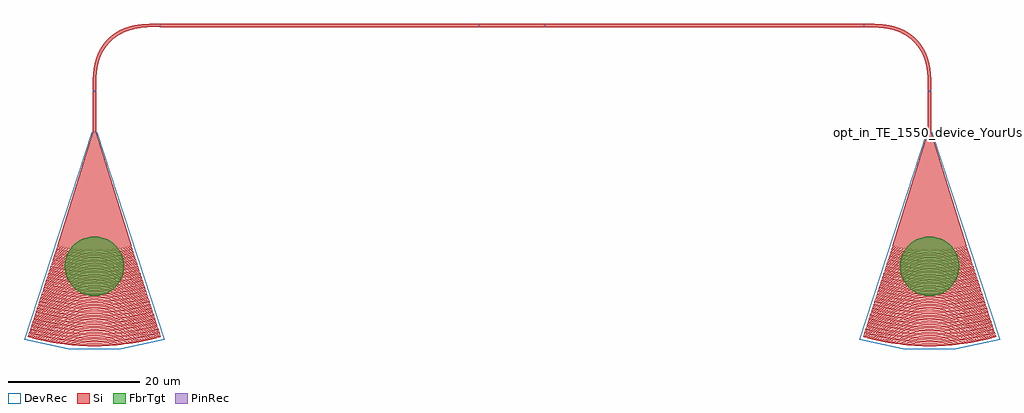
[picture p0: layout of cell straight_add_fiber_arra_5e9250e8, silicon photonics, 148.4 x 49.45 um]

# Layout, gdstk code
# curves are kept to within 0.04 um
from math import pi, radians
import gdstk
lib = gdstk.Library(unit=1e-6, precision=1e-09)
def R(c, l, rs):  # rectangles x0, y0, x1, y1
    for r in rs: c.add(gdstk.rectangle(r[:2], r[2:], *l))
def P(c, l, *ps):  # polygons
    for p in ps: c.add(gdstk.Polygon(p, *l))
Si = (1, 0)
PinRec = (1, 10)
DevRec = (68, 0)
FbrTgt = (81, 0)

bend_euler_c9703dce = lib.new_cell('bend_euler_c9703dce')
P(bend_euler_c9703dce, Si, [(0.047,-0.25),(1.686,-0.23),(3.007,-0.136),(4.229,0.069),(5.261,0.372),(3.041,0.372),(1.761,0.273),(0,0.25),(0,-0.25)],
  [(5.287,0.382),(6.13,0.754),(6.841,1.176),(7.536,1.707),(8.117,2.268),(7.412,2.268),(6.333,1.444),(5.156,0.866),(4.206,0.577),(3.041,0.372)],
  [(8.13,2.282),(8.797,3.119),(9.29,3.957),(9.683,4.894),(9.962,5.911),(9.45,5.911),(9.134,4.844),(8.717,3.941),(8.116,3.035),(7.412,2.268)],
  [(9.972,5.958),(10.196,7.654),(10.25,10),(9.75,10),(9.694,7.643),(9.45,5.911),(9.962,5.911)])
P(bend_euler_c9703dce, DevRec, [(0.047,-0.25),(1.686,-0.23),(3.007,-0.136),(4.229,0.069),(5.261,0.372),(3.041,0.372),(1.761,0.273),(0,0.25),(0,-0.25)],
  [(5.287,0.382),(6.13,0.754),(6.841,1.176),(7.536,1.707),(8.117,2.268),(7.412,2.268),(6.333,1.444),(5.156,0.866),(4.206,0.577),(3.041,0.372)],
  [(8.13,2.282),(8.797,3.119),(9.29,3.957),(9.683,4.894),(9.962,5.911),(9.45,5.911),(9.134,4.844),(8.717,3.941),(8.116,3.035),(7.412,2.268)],
  [(9.972,5.958),(10.196,7.654),(10.25,10),(9.75,10),(9.694,7.643),(9.45,5.911),(9.962,5.911)])
bend_euler_c9703dce.add(gdstk.FlexPath([(0.05,0),(-0.05,0)], 0.5, ends="flush", simple_path=True, layer=1, datatype=10))  # PinRec
bend_euler_c9703dce.add(gdstk.FlexPath([(10,9.95),(10,10.05)], 0.5, ends="flush", simple_path=True, layer=1, datatype=10))  # PinRec
bend_euler_c9703dce.add(gdstk.Label('o1', (0,0), layer=1, texttype=10))
bend_euler_c9703dce.add(gdstk.Label('o2', (10,10), layer=1, texttype=10))

straight_7db3aafb = lib.new_cell('straight_7db3aafb')
R(straight_7db3aafb, Si, [(0,-0.25,6.2,0.25)])
R(straight_7db3aafb, DevRec, [(0,-0.25,6.2,0.25)])
straight_7db3aafb.add(gdstk.FlexPath([(0.05,0),(-0.05,0)], 0.5, ends="flush", simple_path=True, layer=1, datatype=10))  # PinRec
straight_7db3aafb.add(gdstk.FlexPath([(6.15,0),(6.25,0)], 0.5, ends="flush", simple_path=True, layer=1, datatype=10))  # PinRec
straight_7db3aafb.add(gdstk.Label('o1', (0,0), layer=1, texttype=10))
straight_7db3aafb.add(gdstk.Label('o2', (6.2,0), layer=1, texttype=10))

straight_30d118db = lib.new_cell('straight_30d118db')
R(straight_30d118db, Si, [(0,-0.25,48.5,0.25)])
R(straight_30d118db, DevRec, [(0,-0.25,48.5,0.25)])
straight_30d118db.add(gdstk.FlexPath([(0.05,0),(-0.05,0)], 0.5, ends="flush", simple_path=True, layer=1, datatype=10))  # PinRec
straight_30d118db.add(gdstk.FlexPath([(48.45,0),(48.55,0)], 0.5, ends="flush", simple_path=True, layer=1, datatype=10))  # PinRec
straight_30d118db.add(gdstk.Label('o1', (0,0), layer=1, texttype=10))
straight_30d118db.add(gdstk.Label('o2', (48.5,0), layer=1, texttype=10))

ebeam_gc_te1550 = lib.new_cell('ebeam_gc_te1550')
R(ebeam_gc_te1550, Si, [(-0.001,-0.001,0.001,0.001)])
P(ebeam_gc_te1550, Si, [(17.584,-5.592),(17.743,-4.914),(17.902,-4.12),(18.016,-3.437),(18.109,-2.752),(18.176,-2.122),(18.233,-1.377),(18.264,-0.689),(18.274,0.114),(18.196,0.114),(18.189,-0.572),(18.165,-1.2),(18.109,-1.999),(18.032,-2.74),(17.922,-3.536),(17.784,-4.329),(17.643,-5.006),(17.481,-5.68),(17.556,-5.704)],
  [(18.274,0.115),(18.256,0.918),(18.222,1.549),(18.165,2.237),(18.095,2.866),(18.016,3.437),(17.881,4.233),(17.743,4.914),(17.556,5.704),(17.481,5.68),(17.643,5.006),(17.784,4.329),(17.922,3.536),(18.018,2.854),(18.104,2.056),(18.148,1.486),(18.186,0.686),(18.196,0.114)],
  [(17.921,-5.761),(18.207,-4.492),(18.452,-2.982),(18.601,-1.405),(18.643,0.116),(18.383,0.116),(18.338,-1.443),(18.188,-2.998),(17.932,-4.544),(17.659,-5.738),(17.906,-5.818)],
  [(18.643,0.117),(18.601,1.405),(18.452,2.982),(18.207,4.492),(17.906,5.818),(17.659,5.738),(17.932,4.544),(18.188,2.998),(18.338,1.443),(18.383,0.116)],
  [(18.114,-5.76),(18.266,-5.121),(18.4,-4.479),(18.544,-3.658),(18.644,-2.953),(18.739,-2.069),(18.791,-1.36),(18.823,-0.592),(18.83,0.118),(18.752,0.118),(18.745,-0.589),(18.706,-1.472),(18.651,-2.178),(18.567,-2.941),(18.458,-3.702),(18.324,-4.46),(18.165,-5.215),(18.01,-5.852),(18.084,-5.876)],
  [(18.829,0.177),(18.811,0.946),(18.772,1.656),(18.717,2.305),(18.629,3.071),(18.525,3.776),(18.4,4.479),(18.24,5.237),(18.084,5.876),(18.01,5.852),(18.165,5.215),(18.324,4.46),(18.458,3.702),(18.552,3.058),(18.651,2.178),(18.706,1.472),(18.745,0.589),(18.752,0.118),(18.83,0.118)],
  [(18.45,-5.931),(18.77,-4.506),(19.016,-2.951),(19.159,-1.387),(19.199,0.119),(18.939,0.119),(18.896,-1.427),(18.759,-2.911),(18.517,-4.445),(18.188,-5.91),(18.435,-5.99)],
  [(19.199,0.121),(19.135,1.748),(19.001,3.071),(18.77,4.506),(18.435,5.99),(18.188,5.91),(18.517,4.445),(18.744,3.029),(18.896,1.427),(18.939,0.119)],
  [(18.629,-5.988),(18.815,-5.211),(18.963,-4.49),(19.099,-3.705),(19.201,-2.979),(19.286,-2.191),(19.349,-1.339),(19.377,-0.67),(19.386,0.121),(19.308,0.121),(19.299,-0.667),(19.264,-1.455),(19.203,-2.242),(19.131,-2.907),(19.013,-3.751),(18.876,-4.532),(18.713,-5.309),(18.539,-6.024),(18.613,-6.048)],
  [(19.386,0.122),(19.369,0.913),(19.338,1.522),(19.269,2.373),(19.201,2.979),(19.099,3.705),(18.963,4.49),(18.815,5.211),(18.613,6.048),(18.539,6.024),(18.713,5.309),(18.876,4.532),(19.013,3.751),(19.116,3.028),(19.203,2.242),(19.264,1.455),(19.291,0.91),(19.308,0.121)],
  [(18.98,-6.101),(19.334,-4.513),(19.573,-2.974),(19.717,-1.365),(19.755,0.122),(19.495,0.122),(19.454,-1.408),(19.301,-3.057),(19.046,-4.636),(18.717,-6.081),(18.964,-6.162)],
  [(19.755,0.124),(19.689,1.799),(19.533,3.283),(19.262,4.881),(18.964,6.162),(18.717,6.081),(19.046,4.636),(19.301,3.057),(19.43,1.775),(19.495,0.122)],
  [(19.158,-6.158),(19.337,-5.421),(19.516,-4.556),(19.635,-3.874),(19.758,-3.002),(19.833,-2.316),(19.9,-1.44),(19.934,-0.626),(19.942,0.125),(19.864,0.125),(19.853,-0.749),(19.822,-1.435),(19.761,-2.244),(19.681,-2.99),(19.568,-3.797),(19.44,-4.538),(19.289,-5.277),(19.068,-6.195),(19.142,-6.22)],
  [(19.941,0.188),(19.924,0.94),(19.884,1.691),(19.808,2.566),(19.726,3.251),(19.625,3.936),(19.48,4.742),(19.337,5.421),(19.142,6.22),(19.068,6.195),(19.205,5.645),(19.392,4.785),(19.528,4.044),(19.649,3.239),(19.737,2.493),(19.802,1.746),(19.844,0.998),(19.864,0.125),(19.942,0.125)],
  [(19.509,-6.271),(19.839,-4.829),(20.123,-3.058),(20.268,-1.467),(20.311,0.126),(20.051,0.126),(20.005,-1.511),(19.866,-3.019),(19.622,-4.581),(19.246,-6.253),(19.493,-6.334)],
  [(20.311,0.128),(20.256,1.658),(20.107,3.185),(19.839,4.829),(19.493,6.334),(19.246,6.253),(19.574,4.829),(19.842,3.207),(19.997,1.637),(20.051,0.126)],
  [(19.703,-6.265),(19.942,-5.254),(20.093,-4.491),(20.22,-3.726),(20.323,-2.958),(20.397,-2.252),(20.458,-1.416),(20.49,-0.644),(20.498,0.128),(20.42,0.128),(20.412,-0.641),(20.384,-1.347),(20.325,-2.179),(20.246,-2.946),(20.153,-3.648),(20.005,-4.538),(19.797,-5.55),(19.597,-6.367),(19.671,-6.391)],
  [(20.498,0.129),(20.482,0.901),(20.438,1.738),(20.379,2.444),(20.283,3.278),(20.149,4.173),(20.008,4.937),(19.843,5.697),(19.671,6.391),(19.597,6.367),(19.797,5.55),(19.957,4.791),(20.104,3.966),(20.206,3.265),(20.295,2.499),(20.369,1.603),(20.404,0.898),(20.42,0.128)],
  [(20.038,-6.441),(20.392,-4.896),(20.656,-3.272),(20.81,-1.704),(20.867,0.129),(20.607,0.129),(20.567,-1.424),(20.399,-3.231),(20.139,-4.835),(19.774,-6.425),(20.022,-6.505)],
  [(20.867,0.131),(20.81,1.704),(20.656,3.272),(20.392,4.896),(20.022,6.505),(19.774,6.425),(20.139,4.835),(20.382,3.36),(20.542,1.812),(20.607,0.129)],
  [(20.216,-6.499),(20.437,-5.591),(20.599,-4.809),(20.726,-4.089),(20.849,-3.235),(20.931,-2.511),(21.001,-1.653),(21.044,-0.728),(21.054,0.132),(20.976,0.132),(20.966,-0.725),(20.923,-1.647),(20.86,-2.436),(20.772,-3.223),(20.649,-4.074),(20.498,-4.921),(20.347,-5.635),(20.125,-6.539),(20.199,-6.563)],
  [(21.053,0.198),(21.035,0.992),(20.992,1.785),(20.931,2.511),(20.832,3.367),(20.726,4.089),(20.599,4.809),(20.437,5.591),(20.199,6.563),(20.125,6.539),(20.347,5.635),(20.498,4.921),(20.628,4.204),(20.755,3.354),(20.86,2.436),(20.923,1.647),(20.962,0.857),(20.976,0.132),(21.054,0.132)],
  [(20.568,-6.612),(20.971,-4.826),(21.222,-3.225),(21.373,-1.615),(21.423,0.133),(21.163,0.133),(21.105,-1.728),(20.957,-3.252),(20.705,-4.833),(20.303,-6.597),(20.55,-6.677)],
  [(21.423,0.135),(21.355,1.883),(21.205,3.359),(20.906,5.158),(20.55,6.677),(20.303,6.597),(20.705,4.833),(20.957,3.252),(21.105,1.728),(21.163,0.133)],
  [(20.746,-6.669),(20.943,-5.871),(21.101,-5.136),(21.249,-4.331),(21.39,-3.388),(21.483,-2.577),(21.555,-1.696),(21.593,-0.95),(21.61,0.135),(21.532,0.135),(21.525,-0.609),(21.486,-1.555),(21.412,-2.5),(21.33,-3.241),(21.195,-4.181),(21.025,-5.118),(20.868,-5.85),(20.654,-6.711),(20.728,-6.735)],
  [(21.61,0.136),(21.593,0.95),(21.546,1.832),(21.483,2.577),(21.372,3.523),(21.249,4.331),(21.101,5.136),(20.912,6.004),(20.728,6.735),(20.654,6.711),(20.868,5.85),(21.025,5.118),(21.184,4.248),(21.304,3.443),(21.392,2.702),(21.473,1.758),(21.515,0.947),(21.532,0.135)],
  [(21.079,-6.849),(21.432,-5.359),(21.736,-3.583),(21.923,-1.725),(21.979,-0.138),(21.923,1.725),(21.772,3.308),(21.473,5.155),(21.079,6.849),(20.832,6.769),(21.207,5.162),(21.47,3.608),(21.664,1.705),(21.719,0.136),(21.664,-1.705),(21.515,-3.269),(21.207,-5.162),(20.832,-6.769)],
  [(21.311,-6.703),(21.525,-5.816),(21.682,-5.061),(21.817,-4.304),(21.957,-3.336),(22.042,-2.574),(22.114,-1.67),(22.159,-0.627),(22.166,0.139),(22.088,0.139),(22.073,-0.902),(22.036,-1.665),(21.971,-2.495),(21.871,-3.394),(21.729,-4.358),(21.579,-5.181),(21.419,-5.932),(21.183,-6.883),(21.257,-6.907)],
  [(22.165,0.209),(22.146,1.044),(22.105,1.81),(22.042,2.574),(21.93,3.544),(21.817,4.304),(21.655,5.199),(21.494,5.953),(21.257,6.907),(21.183,6.883),(21.419,5.932),(21.579,5.181),(21.729,4.358),(21.853,3.532),(21.971,2.495),(22.027,1.803),(22.068,1.041),(22.088,0.139),(22.166,0.139)],
  [(21.626,-6.952),(22.041,-5.145),(22.294,-3.603),(22.482,-1.698),(22.535,0.14),(22.275,0.14),(22.227,-1.609),(22.073,-3.283),(21.788,-5.086),(21.361,-6.941),(21.608,-7.021)],
  [(22.535,0.142),(22.482,1.698),(22.294,3.603),(21.985,5.425),(21.608,7.021),(21.361,6.941),(21.761,5.224),(22.028,3.631),(22.218,1.749),(22.275,0.14)],
  [(21.804,-7.009),(22.03,-6.101),(22.195,-5.329),(22.374,-4.341),(22.488,-3.562),(22.58,-2.78),(22.659,-1.855),(22.711,-0.785),(22.722,0.142),(22.644,0.142),(22.631,-0.854),(22.586,-1.778),(22.495,-2.842),(22.411,-3.55),(22.274,-4.467),(22.105,-5.381),(21.922,-6.22),(21.712,-7.055),(21.786,-7.079)],
  [(22.722,0.143),(22.704,0.999),(22.649,1.997),(22.565,2.923),(22.469,3.704),(22.302,4.765),(22.167,5.469),(21.964,6.381),(21.786,7.079),(21.712,7.055),(21.889,6.359),(22.077,5.521),(22.238,4.678),(22.392,3.691),(22.495,2.842),(22.566,2.062),(22.626,0.996),(22.644,0.142)],
  [(22.175,-7.051),(22.61,-5.129),(22.862,-3.547),(23.045,-1.595),(23.091,0.143),(22.831,0.143),(22.777,-1.721),(22.596,-3.579),(22.287,-5.425),(21.89,-7.112),(22.137,-7.193)],
  [(23.091,0.145),(23.011,2.102),(22.843,3.692),(22.54,5.486),(22.137,7.193),(21.89,7.112),(22.287,5.425),(22.596,3.579),(22.777,1.721),(22.831,0.143)],
  [(22.372,-7.037),(22.582,-6.178),(22.736,-5.458),(22.895,-4.592),(23.047,-3.576),(23.139,-2.776),(23.218,-1.827),(23.262,-0.951),(23.278,0.146),(23.2,0.146),(23.184,-0.947),(23.145,-1.748),(23.076,-2.621),(22.979,-3.492),(22.843,-4.432),(22.646,-5.512),(22.457,-6.372),(22.24,-7.226),(22.315,-7.25)],
  [(23.276,0.293),(23.247,1.316),(23.197,2.119),(23.1,3.14),(22.997,3.939),(22.871,4.736),(22.707,5.603),(22.515,6.465),(22.315,7.25),(22.24,7.226),(22.457,6.372),(22.646,5.512),(22.807,4.648),(22.96,3.637),(23.069,2.694),(23.125,2.039),(23.184,0.947),(23.2,0.146),(23.278,0.146)],
  [(22.704,-7.22),(23.124,-5.398),(23.421,-3.559),(23.586,-1.856),(23.647,0.147),(23.387,0.147),(23.336,-1.689),(23.145,-3.666),(22.842,-5.484),(22.418,-7.284),(22.666,-7.364)],
  [(23.647,0.149),(23.581,1.93),(23.392,3.78),(23.095,5.545),(22.666,7.364),(22.418,7.284),(22.842,5.484),(23.145,3.666),(23.311,2.056),(23.387,0.147)],
  [(22.883,-7.276),(23.135,-6.251),(23.306,-5.441),(23.441,-4.701),(23.606,-3.587),(23.713,-2.618),(23.782,-1.721),(23.82,-0.898),(23.834,0.149),(23.756,0.149),(23.742,-0.895),(23.704,-1.716),(23.642,-2.535),(23.538,-3.501),(23.389,-4.538),(23.201,-5.57),(22.992,-6.523),(22.769,-7.398),(22.843,-7.422)],
  [(23.834,0.15),(23.815,1.048),(23.762,2.02),(23.691,2.842),(23.556,3.959),(23.441,4.701),(23.262,5.662),(23.067,6.545),(22.843,7.422),(22.769,7.398),(22.957,6.67),(23.171,5.717),(23.352,4.759),(23.479,3.946),(23.582,3.13),(23.679,2.088),(23.737,1.045),(23.756,0.149)],
  [(23.254,-7.314),(23.68,-5.45),(23.961,-3.718),(24.15,-1.748),(24.203,0.15),(23.943,0.15),(23.886,-1.804),(23.704,-3.678),(23.383,-5.614),(22.947,-7.456),(23.194,-7.536)],
  [(24.203,0.152),(24.135,1.976),(23.951,3.793),(23.605,5.824),(23.194,7.536),(22.947,7.456),(23.368,5.688),(23.684,3.827),(23.876,1.955),(23.943,0.15)],
  [(23.392,-7.519),(23.672,-6.396),(23.877,-5.416),(24.011,-4.659),(24.165,-3.594),(24.258,-2.755),(24.341,-1.685),(24.378,-0.843),(24.39,0.153),(24.312,0.153),(24.3,-0.84),(24.263,-1.68),(24.195,-2.594),(24.088,-3.583),(23.971,-4.417),(23.801,-5.399),(23.562,-6.525),(23.298,-7.57),(23.372,-7.594)],
  [(24.385,0.536),(24.361,1.302),(24.286,2.45),(24.202,3.289),(24.115,3.975),(23.96,4.962),(23.802,5.793),(23.602,6.696),(23.372,7.594),(23.298,7.57),(23.491,6.825),(23.711,5.85),(23.87,5.022),(24.038,3.962),(24.158,2.975),(24.238,2.061),(24.295,0.993),(24.312,0.153),(24.39,0.153)],
  [(23.744,-7.632),(24.207,-5.651),(24.5,-3.88),(24.709,-1.71),(24.759,0.154),(24.499,0.154),(24.43,-2),(24.233,-3.916),(23.908,-5.819),(23.476,-7.628),(23.723,-7.708)],
  [(24.759,0.156),(24.678,2.176),(24.479,4.035),(24.145,5.957),(23.723,7.708),(23.476,7.628),(23.908,5.819),(24.233,3.916),(24.43,2),(24.499,0.154)],
  [(23.922,-7.69),(24.137,-6.848),(24.358,-5.848),(24.531,-4.92),(24.695,-3.832),(24.803,-2.896),(24.891,-1.802),(24.931,-0.94),(24.946,0.156),(24.868,0.156),(24.858,-0.781),(24.818,-1.718),(24.733,-2.809),(24.618,-3.82),(24.48,-4.75),(24.282,-5.83),(24.08,-6.75),(23.827,-7.742),(23.901,-7.766)],
  [(24.946,0.157),(24.916,1.332),(24.87,2.115),(24.779,3.13),(24.674,3.987),(24.518,4.997),(24.358,5.848),(24.137,6.848),(23.901,7.766),(23.827,7.742),(24.08,6.75),(24.282,5.83),(24.428,5.059),(24.597,3.975),(24.693,3.198),(24.792,2.108),(24.845,1.172),(24.868,0.156)],
  [(24.273,-7.803),(24.764,-5.699),(25.07,-3.809),(25.259,-1.828),(25.315,0.157),(25.055,0.157),(25.009,-1.652),(24.803,-3.848),(24.464,-5.873),(24.005,-7.8),(24.252,-7.88)],
  [(25.315,0.159),(25.232,2.225),(25.049,3.967),(24.717,5.934),(24.252,7.88),(24.005,7.8),(24.464,5.873),(24.782,4.005),(24.973,2.202),(25.055,0.157)],
  [(24.514,-7.626),(24.727,-6.765),(24.946,-5.741),(25.116,-4.791),(25.255,-3.837),(25.378,-2.721),(25.455,-1.682),(25.489,-0.881),(25.502,0.16),(25.424,0.16),(25.409,-0.958),(25.377,-1.677),(25.293,-2.792),(25.178,-3.826),(25,-5.014),(24.839,-5.881),(24.634,-6.822),(24.356,-7.914),(24.43,-7.938)],
  [(25.497,0.561),(25.471,1.362),(25.412,2.322),(25.322,3.28),(25.212,4.156),(25.049,5.187),(24.866,6.135),(24.709,6.843),(24.43,7.938),(24.356,7.914),(24.596,6.979),(24.774,6.195),(25,5.014),(25.124,4.222),(25.253,3.19),(25.352,2.075),(25.397,1.278),(25.424,0.16),(25.502,0.16)],
  [(24.802,-7.973),(25.274,-5.984),(25.609,-3.974),(25.803,-2.031),(25.871,0.161),(25.611,0.161),(25.544,-2.01),(25.352,-3.934),(25.021,-5.924),(24.533,-7.971),(24.781,-8.052)],
  [(25.871,0.163),(25.803,2.031),(25.576,4.216),(25.241,6.144),(24.781,8.052),(24.533,7.971),(24.972,6.161),(25.308,4.253),(25.544,2.01),(25.611,0.161)],
  [(24.98,-8.03),(25.245,-6.991),(25.472,-5.946),(25.662,-4.895),(25.794,-4.002),(25.891,-3.188),(25.995,-1.964),(26.045,-0.9),(26.058,0.163),(25.98,0.163),(25.967,-0.898),(25.917,-1.958),(25.822,-3.097),(25.717,-3.99),(25.545,-5.123),(25.38,-6.009),(25.15,-7.051),(24.884,-8.085),(24.959,-8.11)],
  [(26.058,0.164),(26.03,1.31),(25.984,2.127),(25.891,3.188),(25.772,4.165),(25.635,5.057),(25.423,6.188),(25.187,7.232),(24.959,8.11),(24.884,8.085),(25.15,7.051),(25.38,6.009),(25.545,5.123),(25.695,4.152),(25.822,3.097),(25.906,2.121),(25.952,1.306),(25.98,0.163)],
  [(25.354,-8.062),(25.815,-6.112),(26.18,-3.894),(26.368,-1.909),(26.427,0.164),(26.167,0.164),(26.123,-1.644),(25.923,-3.856),(25.562,-6.052),(25.062,-8.143),(25.31,-8.224)],
  [(26.427,0.166),(26.357,2.074),(26.136,4.224),(25.815,6.112),(25.31,8.224),(25.062,8.143),(25.512,6.295),(25.868,4.264),(26.098,2.054),(26.167,0.164)],
  [(25.51,-8.2),(25.761,-7.222),(25.997,-6.155),(26.208,-4.999),(26.365,-3.921),(26.484,-2.84),(26.549,-2.006),(26.603,-0.836),(26.614,0.167),(26.536,0.167),(26.525,-0.834),(26.482,-1.833),(26.406,-2.831),(26.288,-3.91),(26.118,-5.067),(25.921,-6.137),(25.686,-7.201),(25.413,-8.257),(25.487,-8.281)],
  [(26.61,0.502),(26.589,1.254),(26.532,2.256),(26.451,3.173),(26.321,4.254),(26.152,5.33),(25.946,6.402),(25.761,7.222),(25.487,8.281),(25.413,8.257),(25.686,7.201),(25.921,6.137),(26.076,5.315),(26.244,4.241),(26.374,3.164),(26.466,2.083),(26.511,1.25),(26.536,0.167),(26.614,0.167)],
  [(25.884,-8.231),(26.356,-6.24),(26.73,-3.976),(26.917,-2.033),(26.983,0.168),(26.723,0.168),(26.658,-2.014),(26.44,-4.188),(26.086,-6.263),(25.591,-8.315),(25.838,-8.395)],
  [(26.983,0.17),(26.887,2.456),(26.685,4.312),(26.339,6.323),(25.838,8.395),(25.591,8.315),(26.086,6.263),(26.44,4.188),(26.658,2.014),(26.723,0.168)],
  [(26.062,-8.287),(26.336,-7.205),(26.555,-6.199),(26.726,-5.272),(26.893,-4.173),(27.012,-3.154),(27.098,-2.133),(27.156,-0.939),(27.17,0.085),(27.092,0.085),(27.078,-0.936),(27.026,-2.042),(26.943,-3.06),(26.827,-4.076),(26.664,-5.173),(26.445,-6.349),(26.181,-7.517),(25.942,-8.429),(26.016,-8.453)],
  [(27.169,0.171),(27.144,1.28),(27.086,2.303),(26.976,3.494),(26.858,4.427),(26.697,5.441),(26.503,6.451),(26.256,7.539),(26.016,8.453),(25.942,8.429),(26.181,7.517),(26.445,6.349),(26.606,5.51),(26.781,4.414),(26.908,3.399),(27.002,2.381),(27.066,1.276),(27.092,0.085),(27.17,0.085)],
  [(26.459,-8.231),(26.931,-6.198),(27.269,-4.143),(27.466,-2.162),(27.539,0.086),(27.279,0.086),(27.218,-1.97),(26.989,-4.275),(26.644,-6.308),(26.12,-8.487),(26.367,-8.567)],
  [(27.539,0.087),(27.466,2.162),(27.246,4.315),(26.897,6.368),(26.367,8.567),(26.12,8.487),(26.644,6.308),(26.989,4.275),(27.218,1.97),(27.279,0.086)],
  [(26.568,-8.54),(26.832,-7.522),(27.079,-6.411),(27.286,-5.294),(27.442,-4.258),(27.573,-3.132),(27.658,-2.089),(27.712,-0.958),(27.726,0.087),(27.648,0.087),(27.634,-0.955),(27.586,-1.997),(27.487,-3.209),(27.365,-4.246),(27.195,-5.365),(27.003,-6.393),(26.777,-7.416),(26.471,-8.601),(26.545,-8.625)],
  [(27.725,0.174),(27.703,1.219),(27.64,2.35),(27.537,3.479),(27.394,4.604),(27.242,5.552),(27.007,6.754),(26.832,7.522),(26.545,8.625),(26.471,8.601),(26.736,7.586),(26.931,6.735),(27.135,5.708),(27.317,4.591),(27.469,3.382),(27.562,2.344),(27.625,1.216),(27.648,0.087),(27.726,0.087)],
  [(26.92,-8.653),(27.438,-6.496),(27.807,-4.315),(28.026,-2.117),(28.095,0.087),(27.835,0.087),(27.761,-2.185),(27.55,-4.275),(27.185,-6.436),(26.649,-8.659),(26.896,-8.739)],
  [(28.095,0.088),(28.014,2.293),(27.783,4.49),(27.402,6.67),(26.896,8.739),(26.649,8.659),(27.185,6.436),(27.55,4.275),(27.761,2.185),(27.835,0.087)],
  [(27.098,-8.711),(27.388,-7.585),(27.62,-6.539),(27.832,-5.4),(28.015,-4.167),(28.134,-3.106),(28.218,-2.042),(28.265,-1.066),(28.282,0.089),(28.204,0.089),(28.187,-1.063),(28.129,-2.214),(28.048,-3.186),(27.926,-4.243),(27.77,-5.297),(27.544,-6.521),(27.292,-7.651),(27,-8.773),(27.074,-8.797)],
  [(28.281,0.178),(28.255,1.332),(28.194,2.397),(28.098,3.46),(27.955,4.608),(27.802,5.576),(27.602,6.627),(27.346,7.759),(27.074,8.797),(27,8.773),(27.271,7.737),(27.508,6.695),(27.71,5.648),(27.878,4.595),(28.03,3.362),(28.129,2.214),(28.184,1.152),(28.204,0.089),(28.282,0.089)],
  [(27.449,-8.823),(27.979,-6.624),(28.344,-4.489),(28.568,-2.339),(28.651,0.089),(28.391,0.089),(28.309,-2.317),(28.075,-4.537),(27.708,-6.652),(27.177,-8.83),(27.425,-8.911)],
  [(28.651,0.09),(28.568,2.339),(28.344,4.489),(27.979,6.624),(27.425,8.911),(27.177,8.83),(27.708,6.652),(28.075,4.537),(28.309,2.317),(28.391,0.089)],
  [(27.723,-8.529),(27.966,-7.556),(28.197,-6.489),(28.393,-5.416),(28.565,-4.249),(28.678,-3.257),(28.767,-2.173),(28.826,-0.906),(28.838,0.09),(28.76,0.09),(28.748,-0.903),(28.695,-2.077),(28.609,-3.158),(28.476,-4.327),(28.316,-5.402),(28.085,-6.649),(27.806,-7.889),(27.528,-8.944),(27.603,-8.969)],
  [(28.838,0.091),(28.814,1.268),(28.761,2.264),(28.678,3.257),(28.529,4.518),(28.347,5.685),(28.124,6.845),(27.881,7.91),(27.603,8.969),(27.528,8.944),(27.806,7.889),(28.048,6.827),(28.255,5.759),(28.452,4.506),(28.582,3.428),(28.677,2.348),(28.736,1.265),(28.76,0.09)],
  [(28.003,-8.905),(28.52,-6.752),(28.918,-4.394),(29.135,-2.201),(29.207,0.091),(28.947,0.091),(28.887,-2),(28.649,-4.445),(28.23,-6.871),(27.706,-9.002),(27.953,-9.083)],
  [(29.207,0.092),(29.135,2.201),(28.893,4.576),(28.52,6.752),(27.953,9.083),(27.706,9.002),(28.23,6.871),(28.624,4.626),(28.863,2.363),(28.947,0.091)],
  [(28.156,-9.051),(28.438,-7.972),(28.702,-6.795),(28.908,-5.703),(29.078,-4.605),(29.221,-3.412),(29.315,-2.307),(29.373,-1.2),(29.394,0.092),(29.316,0.092),(29.295,-1.197),(29.231,-2.393),(29.134,-3.495),(29.001,-4.593),(28.816,-5.779),(28.626,-6.777),(28.363,-7.951),(28.057,-9.116),(28.131,-9.14)],
  [(29.393,0.185),(29.373,1.2),(29.302,2.491),(29.202,3.596),(29.078,4.605),(28.86,5.977),(28.645,7.068),(28.416,8.062),(28.131,9.14),(28.057,9.116),(28.363,7.951),(28.626,6.777),(28.816,5.779),(29.001,4.593),(29.134,3.495),(29.231,2.393),(29.295,1.197),(29.316,0.092),(29.394,0.092)],
  [(28.508,-9.164),(29.08,-6.788),(29.455,-4.57),(29.683,-2.336),(29.763,0.093),(29.503,0.093),(29.424,-2.316),(29.173,-4.714),(28.77,-7.003),(28.235,-9.174),(28.482,-9.254)],
  [(29.763,0.094),(29.683,2.336),(29.416,4.849),(29.003,7.156),(28.482,9.254),(28.235,9.174),(28.77,7.003),(29.173,4.714),(29.424,2.316),(29.503,0.093)],
  [(28.686,-9.221),(28.973,-8.122),(29.224,-7.016),(29.437,-5.904),(29.64,-4.599),(29.792,-3.289),(29.882,-2.163),(29.937,-0.941),(29.95,0.094),(29.872,0.094),(29.862,-0.845),(29.798,-2.251),(29.696,-3.467),(29.563,-4.587),(29.393,-5.703),(29.148,-6.998),(28.898,-8.101),(28.586,-9.288),(28.66,-9.312)],
  [(29.949,0.188),(29.925,1.317),(29.863,2.445),(29.733,3.851),(29.601,4.879),(29.421,5.996),(29.224,7.016),(28.928,8.306),(28.66,9.312),(28.586,9.288),(28.853,8.284),(29.109,7.182),(29.328,6.073),(29.524,4.866),(29.666,3.748),(29.785,2.438),(29.847,1.314),(29.872,0.094),(29.95,0.094)],
  [(29.063,-9.242),(29.621,-6.915),(30.017,-4.561),(30.25,-2.19),(30.319,0.094),(30.059,0.094),(29.978,-2.359),(29.735,-4.709),(29.33,-7.041),(28.764,-9.346),(29.011,-9.426)],
  [(30.319,0.095),(30.237,2.38),(29.965,4.939),(29.563,7.196),(29.011,9.426),(28.764,9.346),(29.33,7.041),(29.735,4.709),(29.978,2.359),(30.059,0.094)],
  [(29.267,-9.205),(29.554,-8.085),(29.784,-7.052),(29.999,-5.918),(30.202,-4.589),(30.335,-3.445),(30.43,-2.299),(30.484,-1.246),(30.506,0.096),(30.428,0.096),(30.406,-1.242),(30.346,-2.388),(30.248,-3.532),(30.125,-4.577),(29.97,-5.62),(29.838,-6.375),(29.708,-7.034),(29.456,-8.158),(29.115,-9.46),(29.189,-9.484)],
  [(30.505,0.192),(30.484,1.246),(30.41,2.586),(30.295,3.827),(30.163,4.874),(29.999,5.918),(29.784,7.052),(29.554,8.085),(29.189,9.484),(29.115,9.46),(29.364,8.531),(29.669,7.221),(29.906,5.997),(30.086,4.862),(30.248,3.532),(30.346,2.388),(30.406,1.242),(30.428,0.096),(30.506,0.096)],
  [(29.566,-9.504),(30.163,-7.041),(30.554,-4.741),(30.798,-2.327),(30.875,0.096),(30.615,0.096),(30.539,-2.307),(30.284,-4.796),(29.89,-7.077),(29.293,-9.518),(29.54,-9.598)],
  [(30.875,0.097),(30.798,2.327),(30.554,4.741),(30.143,7.137),(29.54,9.598),(29.293,9.518),(29.89,7.077),(30.284,4.796),(30.539,2.307),(30.615,0.096)],
  [(29.744,-9.561),(30.044,-8.422),(30.345,-7.084),(30.561,-5.929),(30.752,-4.673),(30.897,-3.411),(30.991,-2.243),(31.046,-1.073),(31.062,0.097),(30.984,0.097),(30.965,-1.168),(30.907,-2.335),(30.78,-3.79),(30.635,-4.951),(30.417,-6.299),(30.209,-7.353),(29.922,-8.591),(29.643,-9.632),(29.718,-9.656)],
  [(31.062,0.098),(31.036,1.366),(30.964,2.633),(30.857,3.8),(30.712,4.963),(30.493,6.315),(30.285,7.371),(29.997,8.613),(29.718,9.656),(29.643,9.632),(29.922,8.591),(30.209,7.353),(30.417,6.299),(30.635,4.951),(30.78,3.79),(30.907,2.335),(30.965,1.168),(30.984,0.097)],
  [(30.096,-9.674),(30.664,-7.362),(31.09,-4.924),(31.346,-2.467),(31.431,0.098),(31.171,0.098),(31.093,-2.349),(30.833,-4.883),(30.411,-7.301),(29.821,-9.69),(30.069,-9.77)],
  [(31.431,0.099),(31.346,2.467),(31.09,4.924),(30.664,7.362),(30.069,9.77),(29.821,9.69),(30.411,7.301),(30.833,4.883),(31.093,2.349),(31.171,0.098)],
  [(30.274,-9.731),(30.603,-8.475),(30.866,-7.308),(31.107,-6.035),(31.288,-4.855),(31.43,-3.67),(31.539,-2.382),(31.595,-1.291),(31.618,0.099),(31.54,0.099),(31.517,-1.288),(31.461,-2.377),(31.342,-3.759),(31.211,-4.843),(31.047,-5.922),(30.907,-6.705),(30.77,-7.387),(30.528,-8.455),(30.172,-9.804),(30.246,-9.828)],
  [(31.617,0.199),(31.595,1.291),(31.518,2.68),(31.409,3.868),(31.232,5.249),(31.038,6.428),(30.825,7.503),(30.531,8.766),(30.246,9.828),(30.172,9.804),(30.528,8.455),(30.77,7.387),(30.907,6.705),(31.047,5.922),(31.211,4.843),(31.342,3.759),(31.461,2.377),(31.517,1.288),(31.54,0.099),(31.618,0.099)],
  [(30.625,-9.844),(31.225,-7.393),(31.653,-4.911),(31.907,-2.41),(31.987,0.1),(31.727,0.1),(31.641,-2.49),(31.396,-4.872),(30.931,-7.529),(30.35,-9.861),(30.597,-9.942)],
  [(31.986,0.201),(31.893,2.611),(31.625,5.111),(31.225,7.393),(30.597,9.942),(30.35,9.861),(30.931,7.529),(31.396,4.872),(31.641,2.49),(31.727,0.1),(31.987,0.1)],
  [(30.803,-9.902),(31.139,-8.624),(31.428,-7.337),(31.686,-5.941),(31.851,-4.84),(32.012,-3.432),(32.1,-2.323),(32.154,-1.213),(32.174,0.101),(32.096,0.101),(32.076,-1.21),(32.009,-2.519),(31.915,-3.625),(31.774,-4.828),(31.593,-6.027),(31.352,-7.319),(31.18,-8.11),(31.015,-8.8),(30.701,-9.975),(30.775,-9.999)],
  [(32.173,0.202),(32.138,1.617),(32.072,2.727),(31.95,4.036),(31.795,5.241),(31.564,6.64),(31.344,7.734),(31.09,8.821),(30.775,9.999),(30.701,9.975),(31.015,8.8),(31.268,7.715),(31.524,6.425),(31.718,5.228),(31.894,3.826),(32.009,2.519),(32.069,1.411),(32.096,0.101),(32.174,0.101)],
  [(31.182,-9.916),(31.787,-7.42),(32.216,-4.895),(32.468,-2.35),(32.543,0.101),(32.283,0.101),(32.202,-2.433),(31.959,-4.856),(31.534,-7.361),(31.244,-8.653),(30.879,-10.033),(31.126,-10.114)],
  [(32.543,0.102),(32.447,2.656),(32.174,5.199),(31.724,7.722),(31.126,10.114),(30.879,10.033),(31.471,7.66),(31.917,5.158),(32.188,2.635),(32.283,0.101)],
  [(17.378,-5.646),(17.678,-4.303),(17.903,-2.893),(18.043,-1.42),(18.087,-0.114),(18.05,1.306),(17.924,2.724),(17.678,4.303),(17.378,5.646),(0,0.25),(0,-0.25)])
P(ebeam_gc_te1550, DevRec, [(31.6,-10.7),(33,-4),(33,4),(31.6,10.7),(0,0.4),(0,-0.4)])
P(ebeam_gc_te1550, FbrTgt, [(20.621,-4.5),(21.495,-4.37),(22.326,-4.073),(23.084,-3.619),(23.738,-3.026),(24.264,-2.316),(24.642,-1.518),(24.857,-0.661),(24.9,0.221),(24.77,1.095),(24.473,1.926),(24.019,2.684),(23.426,3.338),(22.716,3.864),(21.918,4.242),(21.061,4.457),(20.179,4.5),(19.305,4.37),(18.474,4.073),(17.716,3.619),(17.062,3.026),(16.536,2.316),(16.158,1.518),(15.943,0.661),(15.9,-0.221),(16.03,-1.095),(16.327,-1.926),(16.781,-2.684),(17.374,-3.338),(18.084,-3.864),(18.882,-4.242),(19.739,-4.457)])
ebeam_gc_te1550.add(gdstk.FlexPath([(0.05,0),(-0.05,0)], 0.5, ends="flush", simple_path=True, layer=1, datatype=10))  # PinRec
ebeam_gc_te1550.add(gdstk.Label('opt1', (0,0), layer=1, texttype=10))
ebeam_gc_te1550.add(gdstk.Label('Component=ebeam_gc_te1550', (28,-5), layer=68, texttype=0))
ebeam_gc_te1550.add(gdstk.Label('Lumerical_INTERCONNECT_library=Design kits/ebeam', (29,-7), layer=68, texttype=0))
ebeam_gc_te1550.add(gdstk.Label('Ref: Yun Wang, Optics Express, 08/2014', (33,0), layer=10, texttype=0))
ebeam_gc_te1550.add(gdstk.Label('http://dx.doi.org/10.1364/OE.22.020652', (33,-2), layer=10, texttype=0))
ebeam_gc_te1550.add(gdstk.Label('TE 1550 -31 deg', (33,2), layer=10, texttype=0))

straight = lib.new_cell('straight')
R(straight, Si, [(0,-0.25,10,0.25)])
R(straight, DevRec, [(0,-0.25,10,0.25)])
straight.add(gdstk.FlexPath([(0.05,0),(-0.05,0)], 0.5, ends="flush", simple_path=True, layer=1, datatype=10))  # PinRec
straight.add(gdstk.FlexPath([(9.95,0),(10.05,0)], 0.5, ends="flush", simple_path=True, layer=1, datatype=10))  # PinRec
straight.add(gdstk.Label('o1', (0,0), layer=1, texttype=10))
straight.add(gdstk.Label('o2', (10,0), layer=1, texttype=10))

straight_add_fiber_arra_ = lib.new_cell('straight_add_fiber_arra_5e9250e8')
straight_add_fiber_arra_.add(gdstk.Reference(bend_euler_c9703dce, (-58.5,-10), rotation=pi/2, x_reflection=True))
straight_add_fiber_arra_.add(gdstk.Reference(straight_7db3aafb, (-58.5,-16.2), rotation=pi/2))
straight_add_fiber_arra_.add(gdstk.Reference(straight_30d118db, (-48.5,0)))
straight_add_fiber_arra_.add(gdstk.Reference(bend_euler_c9703dce, (68.5,-10), rotation=pi/2))
straight_add_fiber_arra_.add(gdstk.Reference(straight_7db3aafb, (68.5,-16.2), rotation=pi/2))
straight_add_fiber_arra_.add(gdstk.Reference(straight_30d118db, (58.5,0), rotation=pi))
straight_add_fiber_arra_.add(gdstk.Reference(ebeam_gc_te1550, (-58.5,-16.2), rotation=3*pi/2))
straight_add_fiber_arra_.add(gdstk.Reference(ebeam_gc_te1550, (68.5,-16.2), rotation=3*pi/2))
straight_add_fiber_arra_.add(gdstk.Reference(straight, (0,0)))
straight_add_fiber_arra_.add(gdstk.Label('opt_in_TE_1550_device_YourUserName_(straight)-1-o2', (68.5,-16.2), layer=10, texttype=0))

lib.write_gds('straight_add_fiber_arra_5e9250e8.gds')
